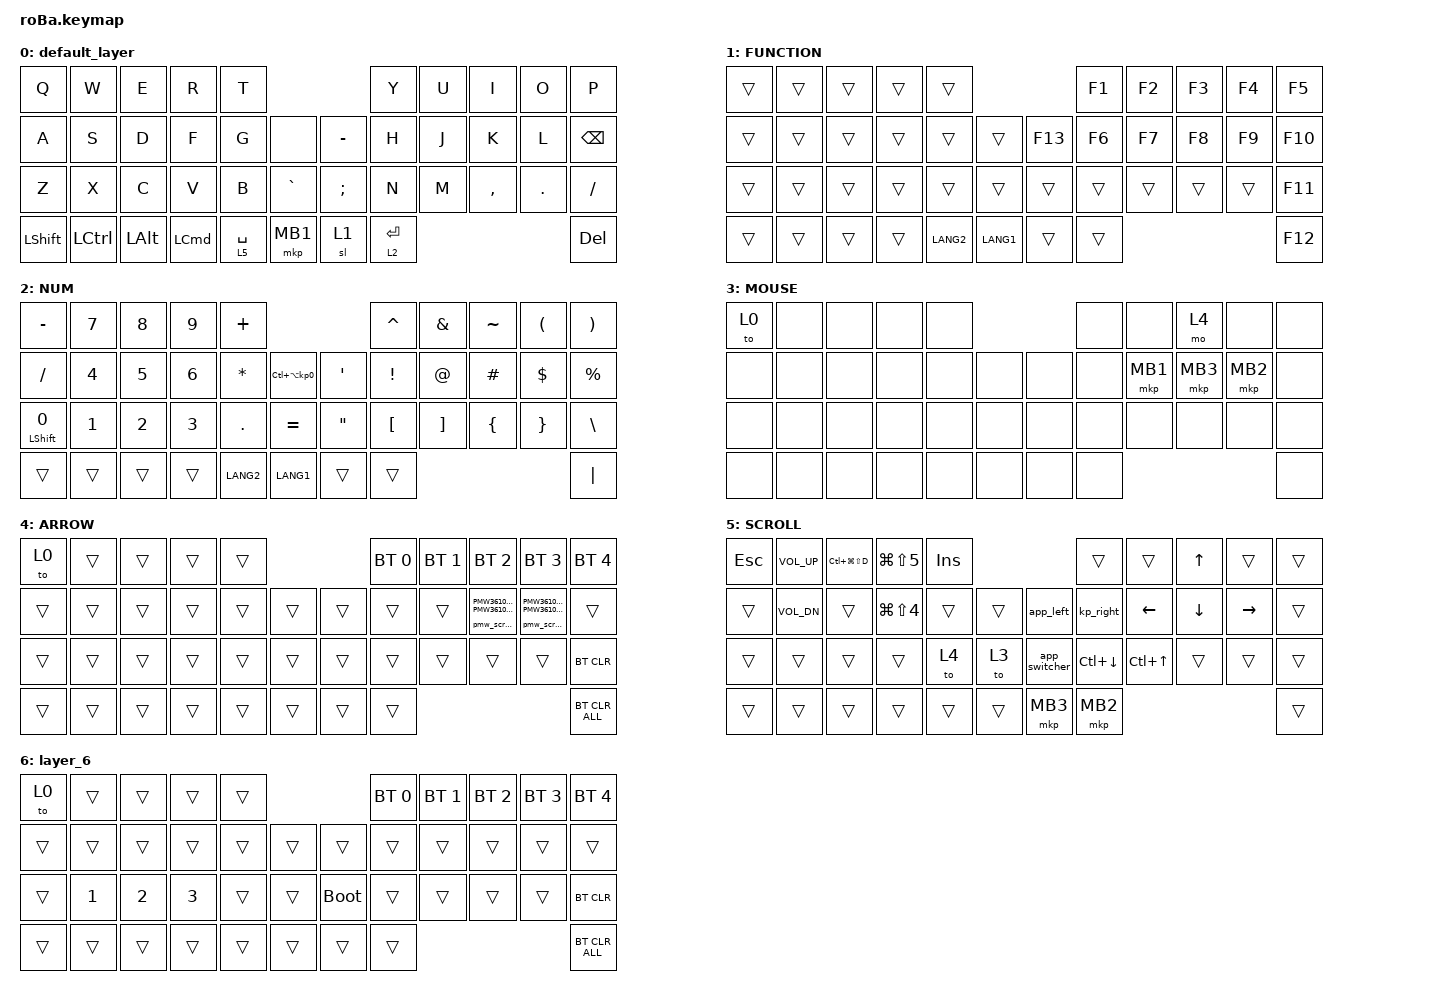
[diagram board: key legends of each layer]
#include <dt-bindings/zmk/pmw3610.h>
#include <behaviors.dtsi>
#include <dt-bindings/zmk/bt.h>
#include <dt-bindings/zmk/keys.h>
#include <dt-bindings/zmk/pointing.h>

#define PMW_SCROLL_X_TOG &pmw_scroll_dir PMW3610_SCROLL_AXIS_X PMW3610_SCROLL_DIR_TOGGLE
#define PMW_SCROLL_Y_TOG &pmw_scroll_dir PMW3610_SCROLL_AXIS_Y PMW3610_SCROLL_DIR_TOGGLE

&mt {
    flavor = "balanced";
    quick-tap-ms = <0>;
};

&trackball {
    scroll-layers = <4 5>;

    // arrows {
    //     layers = <3>;
    //     bindings =
    //         <&kp RIGHT_ARROW>,
    //         <&kp LEFT_ARROW>,
    //         <&kp UP_ARROW>,
    //         <&kp DOWN_ARROW>;
    //     tick = <10>;
    //     wait-ms = <5>;
    //     tap-ms = <5>;
    // };
};

/ {
    combos {
        compatible = "zmk,combos";

        tab {
            bindings = <&kp TAB>;
            key-positions = <11 12>;
        };

        shift_tab {
            bindings = <&kp LS(TAB)>;
            key-positions = <12 13>;
        };

        eq {
            bindings = <&kp EQUAL>;
            key-positions = <24 25>;
        };
    };

    macros {
        to_layer_0: to_layer_0 {
            compatible = "zmk,behavior-macro-one-param";
            #binding-cells = <1>;
            bindings = <&to 0 &macro_param_1to1 &kp MACRO_PLACEHOLDER>;
            label = "TO_LAYER_0";
        };

        app_switcher: app_switcher {
            compatible = "zmk,behavior-macro";
            #binding-cells = <0>;
            bindings = <&kp GLOBE &kp UP_ARROW>;
            label = "APP_SWITCHER";
        };

        app_left: app_left {
            compatible = "zmk,behavior-macro";
            #binding-cells = <0>;
            bindings = <&kp GLOBE &kp LEFT>;
            label = "APP_LEFT";
        };

        kp_right: kp_right {
            compatible = "zmk,behavior-macro";
            #binding-cells = <0>;
            bindings = <&kp GLOBE &kp RIGHT>;
            label = "KP_RIGHT";
        };
    };

    behaviors {
        pmw_scroll_dir: pmw_scroll_dir {
            compatible = "zmk,behavior-pmw3610-scroll-direction";
            #binding-cells = <2>;
        };

        lt_to_layer_0: lt_to_layer_0 {
            compatible = "zmk,behavior-hold-tap";
            label = "LAYER_TAP_TO_0";
            bindings = <&mo>, <&to_layer_0>;

            #binding-cells = <2>;
            tapping-term-ms = <200>;
        };
    };

    keymap {
        compatible = "zmk,keymap";

        default_layer {
            bindings = <
&kp Q           &kp W      &kp E         &kp R             &kp T                                      &kp Y        &kp U  &kp I      &kp O    &kp P
&kp A           &kp S      &kp D         &kp F             &kp G        &none          &kp MINUS      &kp H        &kp J  &kp K      &kp L    &kp BACKSPACE
&kp Z           &kp X      &kp C         &kp V             &kp B        &kp GRAVE      &kp SEMICOLON  &kp N        &kp M  &kp COMMA  &kp DOT  &kp SLASH
&kp LEFT_SHIFT  &kp LCTRL  &kp LEFT_ALT  &kp LEFT_COMMAND  &lt 5 SPACE  &mkp MB1       &sl 1          &lt 2 ENTER                             &kp DEL
            >;
        };

        FUNCTION {
            bindings = <
&trans  &trans  &trans  &trans  &trans                             &kp F1  &kp F2  &kp F3  &kp F4  &kp F5
&trans  &trans  &trans  &trans  &trans     &trans         &kp F13  &kp F6  &kp F7  &kp F8  &kp F9  &kp F10
&trans  &trans  &trans  &trans  &trans     &trans         &trans   &trans  &trans  &trans  &trans  &kp F11
&trans  &trans  &trans  &trans  &kp LANG2  &kp LANG1      &trans   &trans                          &kp F12
            >;
        };

        NUM {
            bindings = <
&kp MINUS                &kp N7        &kp NUMBER_8  &kp NUMBER_9  &kp PLUS                                                      &kp CARET         &kp AMPERSAND      &kp TILDE       &kp LEFT_PARENTHESIS  &kp RIGHT_PARENTHESIS
&kp SLASH                &kp NUMBER_4  &kp NUMBER_5  &kp NUMBER_6  &kp ASTERISK  &kp LC(LA(KP_NUMBER_0))      &kp SINGLE_QUOTE   &kp EXCLAMATION   &kp AT_SIGN        &kp HASH        &kp DOLLAR            &kp PERCENT
&mt LEFT_SHIFT NUMBER_0  &kp NUMBER_1  &kp NUMBER_2  &kp NUMBER_3  &kp PERIOD    &kp EQUAL                    &kp DOUBLE_QUOTES  &kp LEFT_BRACKET  &kp RIGHT_BRACKET  &kp LEFT_BRACE  &kp RIGHT_BRACE       &kp BACKSLASH
&trans                   &trans        &trans        &trans        &kp LANG2     &kp LANG1                    &trans             &trans                                                                     &kp PIPE
            >;
        };

        MOUSE {
            bindings = <
&to 0  &none  &none  &none  &none                    &none  &none     &mo 4     &none     &none
&none  &none  &none  &none  &none  &none      &none  &none  &mkp MB1  &mkp MB3  &mkp MB2  &none
&none  &none  &none  &none  &none  &none      &none  &none  &none     &none     &none     &none
&none  &none  &none  &none  &none  &none      &none  &none                                &none
            >;
        };

        ARROW {
            bindings = <
&to 0   &trans  &trans  &trans  &trans                              &bt BT_SEL 0  &bt BT_SEL 1                              &bt BT_SEL 2  &bt BT_SEL 3  &bt BT_SEL 4
&trans  &trans  &trans  &trans  &trans  &trans      &trans          &trans        &trans PMW_SCROLL_Y_TOG PMW_SCROLL_X_TOG  &trans        &trans        &trans
&trans  &trans  &trans  &trans  &trans  &trans      &trans          &trans        &trans                                    &bt BT_CLR    &trans        &trans
&trans  &trans  &trans  &trans  &trans  &trans      &bt BT_CLR_ALL
            >;
        };

        SCROLL {
            bindings = <
&kp ESCAPE  &kp C_VOL_UP  &kp LC(LG(LS(D)))  &kp LG(LS(NUMBER_5))  &kp INSERT                             &trans        &trans      &kp UP    &trans     &trans
&trans      &kp C_VOL_DN  &trans             &kp LG(LS(NUMBER_4))  &trans      &trans      &app_left      &kp_right     &kp LEFT    &kp DOWN  &kp RIGHT  &trans
&trans      &trans        &trans             &trans                &to 4       &to 3       &app_switcher  &kp LC(DOWN)  &kp LC(UP)  &trans    &trans     &trans
&trans      &trans        &trans             &trans                &trans      &trans      &mkp MB3       &mkp MB2                                       &trans
            >;
        };

        layer_6 {
            bindings = <
&to 0   &trans        &trans        &trans        &trans                           &bt BT_SEL 0  &bt BT_SEL 1  &bt BT_SEL 2  &bt BT_SEL 3  &bt BT_SEL 4
&trans  &trans        &trans        &trans        &trans  &trans      &trans       &trans        &trans        &trans        &trans        &trans
&trans  &kp NUMBER_1  &kp NUMBER_2  &kp NUMBER_3  &trans  &trans      &bootloader  &trans        &trans        &trans        &trans        &bt BT_CLR
&trans  &trans        &trans        &trans        &trans  &trans      &trans       &trans                                                  &bt BT_CLR_ALL
            >;
        };
    };
};
